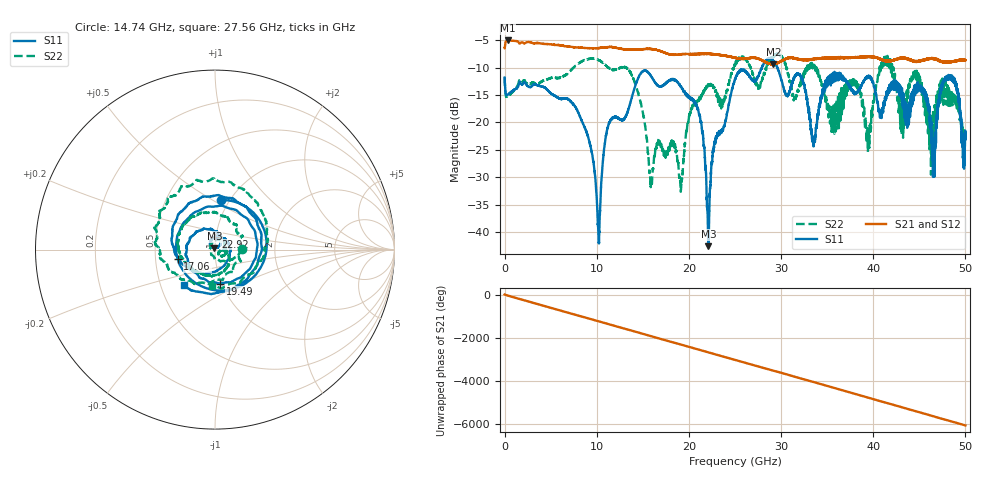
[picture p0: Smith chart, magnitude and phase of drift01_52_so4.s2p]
!Created with skrf (http://scikit-rf.org).
# Hz S RI R 50.0
!freq ReS11 ImS11 ReS21 ImS21 ReS12 ImS12 ReS22 ImS22
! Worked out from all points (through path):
!   10001 points, 300 kHz to 50 GHz, reference 50 ohm
!   highest |S21| = -5.05 dB at 325.3 MHz (marker M1); lowest = -9.4 dB at 29.17 GHz (marker M2)
!   group delay of S21, straight-line fit = 336 ps
!   lowest |S11| = -42.6 dB at 22.12 GHz (marker M3), VSWR 1.02, Z = 49.7 + j0.682 ohm
!   |S11| at or under -10 dB: start of sweep to 27.92 GHz; 29.6 GHz to end of sweep
!   |S22| runs from -32.6 to -7.4 dB; largest |S21 - S12| = 0.015
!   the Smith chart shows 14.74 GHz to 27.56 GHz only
!   S11 on the Smith chart (normalised r, x): 14.74 GHz: 0.91, +0.54; 17.06 GHz: 0.65, -0.07; 19.49 GHz: 0.99, -0.39; 22.92 GHz: 0.99, +0.15; 27.56 GHz: 0.66, -0.28
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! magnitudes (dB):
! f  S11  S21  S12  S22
! 300 kHz  -11.8  -6.4  -6.5  -11.8
! 325.3 MHz  -15.0  -5.1  -5.1  -15.3
! 8.335 GHz  -19.6  -6.4  -6.4  -8.9
! 10.21 GHz  -41.5  -6.4  -6.4  -8.6
! 11.25 GHz  -20.7  -6.3  -6.2  -10.0
! 14.74 GHz  -11.1  -6.7  -6.7  -16.3
! 15.88 GHz  -11.5  -6.6  -6.6  -31.0
! 16.67 GHz  -13.3  -6.9  -6.9  -23.3
! 17.06 GHz  -13.4  -7.1  -7.1  -24.0
! 19.49 GHz  -14.3  -7.5  -7.5  -25.2
! 21.17 GHz  -18.8  -7.6  -7.5  -15.6
! 22.12 GHz  -42.6  -7.5  -7.5  -13.2
! 22.92 GHz  -22.7  -7.6  -7.6  -14.2
! 25 GHz  -12.1  -8.2  -8.3  -9.6
! 27.56 GHz  -11.5  -8.4  -8.4  -13.8
! 29.17 GHz  -8.8  -9.4  -9.4  -8.1
! 33.34 GHz  -22.2  -8.5  -8.5  -9.4
! 39.48 GHz  -11.5  -8.0  -8.0  -21.6
! 41.67 GHz  -13.9  -8.8  -8.8  -8.9
! 46.56 GHz  -26.2  -8.4  -8.3  -21.1
! 48.52 GHz  -11.5  -8.9  -9.0  -14.8
! 50 GHz  -22.9  -8.6  -8.6  -22.9
